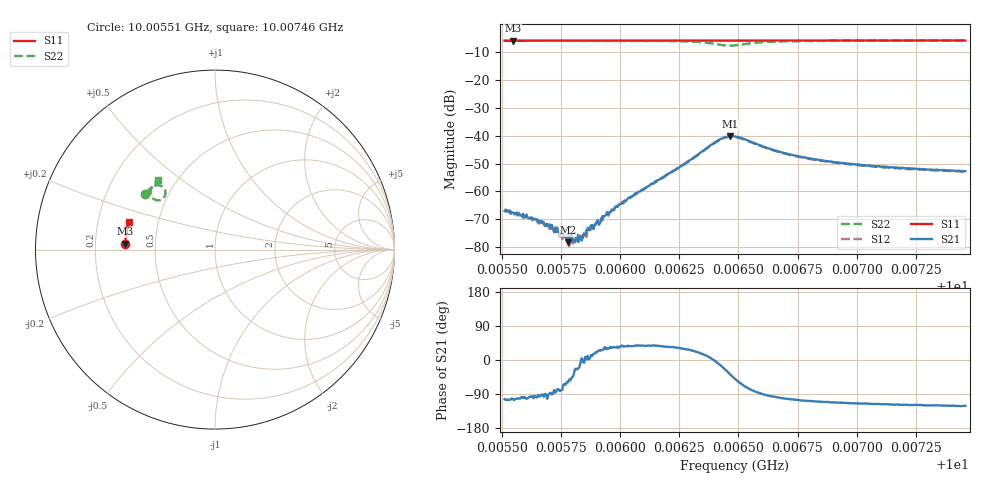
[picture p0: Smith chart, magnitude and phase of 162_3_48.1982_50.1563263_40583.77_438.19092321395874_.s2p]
#  HZ  S  RI  R  50.00
! Rohde & Schwarz Vector Network Analyzer
! Rohde-Schwarz,ZNB20-2Port,1311601062101988,3.16
! Created: UTC 3/20/2024, 11:43:16 AM
! freq[Hz]  re:S11  im:S11  re:S21  im:S21  re:S12  im:S12  re:S22  im:S22
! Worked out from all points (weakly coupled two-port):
!   401 points, 10.00551 GHz to 10.00746 GHz, reference 50 ohm
!   highest |S21| = -40.23 dB at 10.00647 GHz (marker M1); lowest = -78.2 dB at 10.00578 GHz (marker M2)
!   lowest |S11| = -6.0 dB at 10.00554 GHz (marker M3), VSWR 3.00, Z = 16.7 + j1.47 ohm
!   |S11| at or under -10 dB: nowhere
!   |S22| runs from -7.8 to -6.0 dB; largest |S21 - S12| = 0.0006
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1.000551e10  -0.4996 0.0307  -0.000106 -0.000436  -8.92e-05 -0.000465  -0.3895 0.308
1.0005545e10  -0.4995 0.033  -8.92e-05 -0.000412  -8.49e-05 -0.000407  -0.388 0.3101
1.0005569e10  -0.4997 0.0346  -8.23e-05 -0.0004  -6.49e-05 -0.000412  -0.387 0.3116
1.0005701e10  -0.4991 0.0431  7.59e-06 -0.000257  2.17e-05 -0.00021  -0.3807 0.3195
1.000574e10  -0.499 0.0457  4.07e-05 -0.000185  9.27e-05 -0.000178  -0.3788 0.3221
1.0005749e10  -0.499 0.0464  2.73e-05 -0.000156  6.42e-05 -0.000184  -0.3783 0.3226
1.0005769e10  -0.4987 0.0476  6.2e-05 -0.000134  9.37e-05 -0.000145  -0.3772 0.3238
1.0005779e10  -0.4988 0.0483  6.4e-05 -0.000105  8.93e-05 -0.000135  -0.3768 0.3245
1.0005793e10  -0.4988 0.0493  0.000115 -0.000121  0.000127 -0.000101  -0.3759 0.3253
1.0005813e10  -0.4986 0.0505  0.000121 -5.06e-05  0.000137 -7.52e-05  -0.3748 0.3264
1.0005837e10  -0.4986 0.0521  0.000131 1.12e-05  0.000138 -3.55e-05  -0.3736 0.3281
1.0005866e10  -0.4985 0.0539  0.000206 5.85e-06  0.000197 4.89e-05  -0.3718 0.33
1.0005935e10  -0.4981 0.0583  0.000299 0.000204  0.000294 0.000193  -0.3675 0.3346
1.0005998e10  -0.4977 0.0624  0.000477 0.000339  0.00047 0.000354  -0.363 0.339
1.0006164e10  -0.4965 0.0733  0.00129 0.000964  0.00121 0.000999  -0.3471 0.3512
1.0006412e10  -0.4937 0.089  0.00806 -0.00111  0.0079 -0.000649  -0.2773 0.3282
1.0006466e10  -0.4931 0.092  0.00761 -0.00608  0.00778 -0.0055  -0.2902 0.2847
1.0006485e10  -0.4931 0.0931  0.00622 -0.00736  0.00644 -0.0069  -0.3054 0.2762
1.000668e10  -0.4917 0.1056  -0.000913 -0.00497  -0.000647 -0.0049  -0.3593 0.3243
1.0006812e10  -0.4901 0.114  -0.00121 -0.00365  -0.00104 -0.0036  -0.3535 0.3438
1.0007139e10  -0.4857 0.1346  -0.00123 -0.0024  -0.0011 -0.00242  -0.3356 0.3697
1.000746e10  -0.4802 0.1547  -0.00119 -0.00198  -0.00108 -0.00199  -0.3187 0.3874
